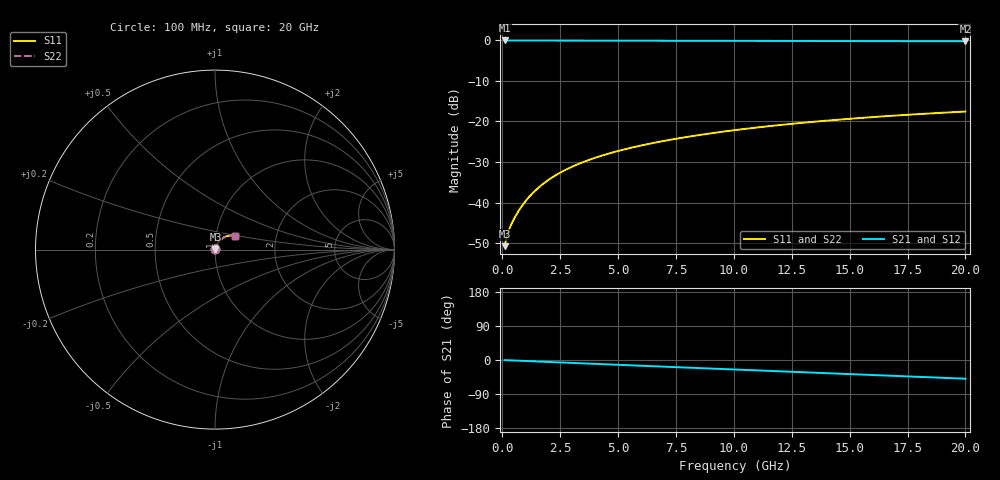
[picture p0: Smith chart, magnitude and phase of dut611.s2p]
! Touchstone file exported from HFSS 2026.1.0
!  File:  C:/ffzhzh/LocalFiles/Ansys_Project_Files/temp_train_TMRDL_611_1783008809_46388.aedt
!  Generated:  12:14:59 AM Jul  3, 2026
!  Design:  TMRDL
!  Project:  temp_train_TMRDL_611_1783008809_46388
! Variables:
!  h_bsmrdl = 2um
!  h_ox = 20um
!  h_rdl = 5um
!  h_sub = 80um
!  h_tmrdl = 5.02um
!  h_tsv = 80um
!  h_via = 3um
!  l_bsmrdl = 300um
!  l_sub = 1266.47um
!  l_tmrdl = 866.47um
!  m_sub = 200um
!  pitch = 37.59um
!  r_tsv = 6um
!  s_tmrdl = 10um
!  w_bsmrdl = 18um
!  w_sub = 500um
!  w_tmrdl = 28.33um
!  x_tsv_center1 = 880.635um
!  x_tsv_center2 = 1198.635um
!  x_tsv_center3 = 2093.435um
!  x_tsv_center4 = 2411.435um
!  x_tsv_center5 = 3306.235um
!  x_tsv_center6 = 3624.235um
# GHz S MA R 50.000000
! Terminal data exported
! Port[1] = TM_RDL1_1_T1
! Port[2] = TM_RDL1_1_T2
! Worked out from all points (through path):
!   200 points, 100 MHz to 20 GHz, reference 50 ohm
!   highest |S21| = -0.02 dB at 100 MHz (marker M1); lowest = -0.2 dB at 20 GHz (marker M2)
!   group delay of S21, straight-line fit = 6.83 ps
!   lowest |S11| = -50.8 dB at 100 MHz (marker M3), VSWR 1.01, Z = 50.3 + j0.144 ohm
!   |S11| at or under -10 dB: start of sweep to end of sweep
!   |S22| runs from -50.8 to -17.6 dB; largest |S21 - S12| = 3e-15
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0.1  0.002898 29.7  0.9975 -0.3  0.9975 -0.3  0.002898 29.7
! Gamma 0 0 0 0
! Port Impedance 50 0 50 0
0.2  0.003856 40.7  0.9971 -0.6  0.9971 -0.6  0.003856 40.7
0.3  0.004688 46.6  0.9968 -0.8  0.9968 -0.8  0.004688 46.6
0.4  0.005461 51.1  0.9967 -1.1  0.9967 -1.1  0.005461 51.1
0.5  0.006233 54.8  0.9965 -1.3  0.9965 -1.3  0.006233 54.8
0.8  0.008662 62.5  0.9963 -2.1  0.9963 -2.1  0.008662 62.5
1  0.01036 65.5  0.9961 -2.6  0.9961 -2.6  0.01036 65.5
1.2  0.01209 67.5  0.9959 -3.1  0.9959 -3.1  0.01209 67.5
1.4  0.01384 68.8  0.9957 -3.6  0.9957 -3.6  0.01384 68.8
1.7  0.01647 69.9  0.9954 -4.4  0.9954 -4.4  0.01647 69.9
2.2  0.0208 70.5  0.9948 -5.7  0.9948 -5.7  0.0208 70.5
2.8  0.02588 70.2  0.994 -7.2  0.994 -7.2  0.02588 70.2
3.5  0.03161 69.2  0.993 -9.0  0.993 -9.0  0.0316 69.2
4.2  0.03713 67.9  0.992 -10.7  0.992 -10.7  0.03712 68.0
5  0.04323 66.4  0.9909 -12.7  0.9909 -12.7  0.04321 66.4
5.9  0.04985 64.6  0.9897 -14.9  0.9897 -14.9  0.04983 64.7
6.8  0.05629 62.8  0.9886 -17.2  0.9886 -17.2  0.05626 62.8
8.3  0.06665 59.8  0.9868 -20.9  0.9868 -20.9  0.06661 59.8
10.1  0.07856 56.0  0.9848 -25.3  0.9848 -25.3  0.0785 56.0
13.4  0.09883 48.8  0.9812 -33.3  0.9812 -33.3  0.09873 48.9
16.7  0.1169 41.5  0.9778 -41.4  0.9778 -41.4  0.1167 41.6
20  0.1325 34.1  0.9747 -49.4  0.9747 -49.4  0.1323 34.2
